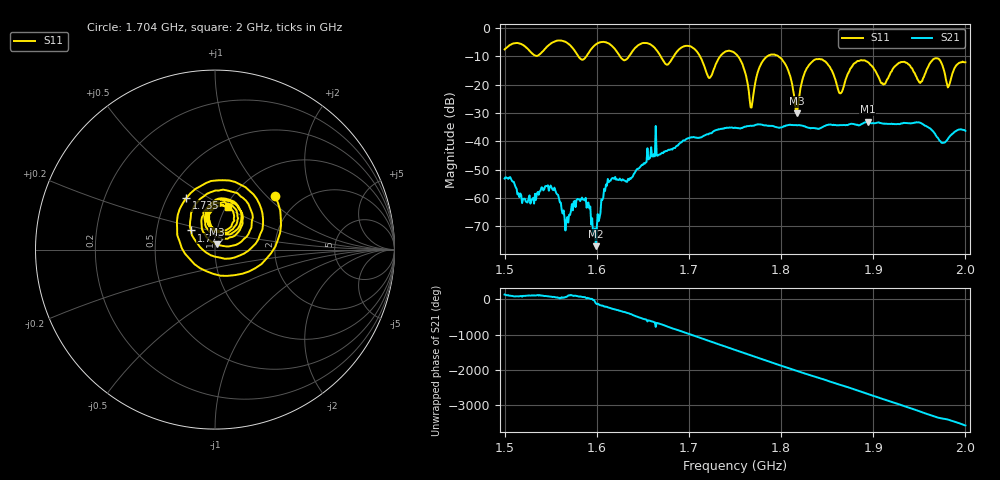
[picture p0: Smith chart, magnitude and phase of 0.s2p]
! NanoVNA-App by SYSJOINT et al v1.1.209 (+OD18)
! Date: 2026-01-21 14:44:01
! Start: 1,5GHz Stop: 2GHz Points: 501
! S-Parameter data: F S11 S21 S12 S22
# Hz S RI R 50
!  Frequency  S11_Real  S11_Imag  S21_Real  S21_Imag  S12_Real  S12_Imag  S22_Real  S22_Imag
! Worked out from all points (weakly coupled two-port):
!   501 points, 1.5 GHz to 2 GHz, reference 50 ohm
!   highest |S21| = -33.14 dB at 1.894 GHz (marker M1); lowest = -77.0 dB at 1.599 GHz (marker M2)
!   lowest |S11| = -30.2 dB at 1.817 GHz (marker M3), VSWR 1.06, Z = 51 + j2.97 ohm
!   |S11| at or under -10 dB: 1.712 GHz to 1.734 GHz (22.25 MHz wide, 1.29 % of centre); 1.753 GHz to 1.785 GHz (32.19 MHz wide, 1.82 % of centre); 1.797 GHz to end of sweep (the widest 3 of 6)
!   S12 and S22 are empty: the file has one direction only
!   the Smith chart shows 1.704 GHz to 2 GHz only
!   S11 on the Smith chart (normalised r, x): 1.704 GHz: 1.50, +1.11; 1.735 GHz: 0.62, +0.40; 1.775 GHz: 0.75, +0.16; 2 GHz: 1.03, +0.51
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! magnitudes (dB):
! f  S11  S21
! 1.5 GHz  -7.6  -53.1
! 1.552 GHz  -5.2  -57.0
! 1.567 GHz  -5.1  -68.1
! 1.584 GHz  -11.3  -59.9
! 1.599 GHz  -5.9  -77.0
! 1.612 GHz  -5.4  -53.3
! 1.667 GHz  -8.8  -44.8
! 1.704 GHz  -7.0  -38.6
! 1.722 GHz  -17.7  -37.3
! 1.735 GHz  -9.6  -35.6
! 1.75 GHz  -9.0  -35.2
! 1.767 GHz  -28.1  -34.5
! 1.775 GHz  -15.3  -34.0
! 1.799 GHz  -10.5  -35.1
! 1.817 GHz  -30.2  -34.3
! 1.834 GHz  -11.9  -35.3
! 1.864 GHz  -23.1  -34.3
! 1.894 GHz  -12.1  -33.1
! 1.917 GHz  -17.1  -33.9
! 1.969 GHz  -10.8  -38.5
! 1.982 GHz  -20.5  -38.7
! 2 GHz  -12.2  -36.3
